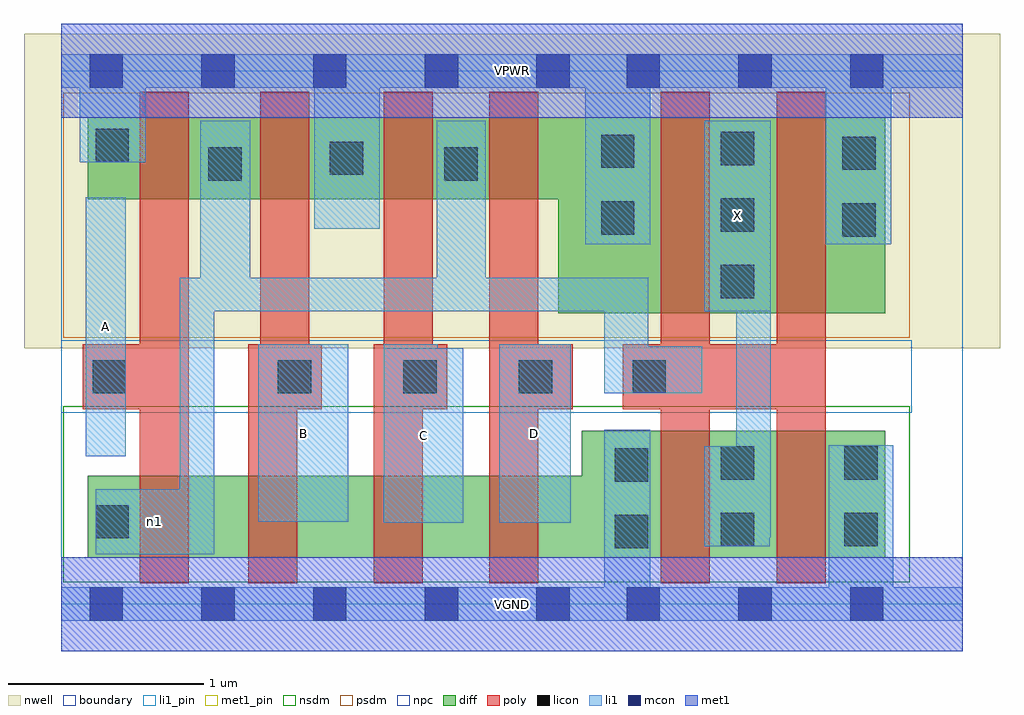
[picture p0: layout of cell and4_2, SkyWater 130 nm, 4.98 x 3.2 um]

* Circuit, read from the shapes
.subckt and4_2 A B C D VGND VPWR X n1
XM1 n2 A n1 VSUBS sky130_fd_pr__nfet_01v8 w=0.42 l=0.25
XM2 n3 B n2 VSUBS sky130_fd_pr__nfet_01v8 w=0.42 l=0.25
XM3 n4 C n3 VSUBS sky130_fd_pr__nfet_01v8 w=0.42 l=0.25
XM4 VGND D n4 VSUBS sky130_fd_pr__nfet_01v8 w=0.42 l=0.25
XM5 X n1 VGND VSUBS sky130_fd_pr__nfet_01v8 w=0.65 l=0.25 m=2
XM6 n1 A VPWR n5 sky130_fd_pr__pfet_01v8 w=0.42 l=0.25
XM7 VPWR B n1 n5 sky130_fd_pr__pfet_01v8 w=0.42 l=0.25
XM8 n1 C VPWR n5 sky130_fd_pr__pfet_01v8 w=0.42 l=0.25
XM9 VPWR D n1 n5 sky130_fd_pr__pfet_01v8 w=0.42 l=0.25
XM10 X n1 VPWR n5 sky130_fd_pr__pfet_01v8 w=1 l=0.25 m=2
.ends

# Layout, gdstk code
import gdstk
lib = gdstk.Library(unit=1e-6, precision=1e-09)
def R(c, l, rs):  # rectangles x0, y0, x1, y1
    for r in rs: c.add(gdstk.rectangle(r[:2], r[2:], *l))
def A(c, l, x, y, w, h, nx, ny, dx, dy):  # array of equal rectangles
    R(c, l, [(x+i*dx, y+j*dy, x+i*dx+w, y+j*dy+h) for i in range(nx) for j in range(ny)])
nwell = (64, 20)
diff = (65, 20)
poly = (66, 20)
licon = (66, 44)
li1_pin = (67, 16)
li1 = (67, 20)
mcon = (67, 44)
met1_pin = (68, 16)
met1 = (68, 20)
nsdm = (93, 44)
psdm = (94, 20)
npc = (95, 20)
boundary = (235, 4)

and4_2 = lib.new_cell('and4_2')
R(and4_2, nwell, [(-0.19,1.305,4.79,2.91), (0,1.305,4.6,2.91)])
R(and4_2, diff, [(0.135,0.235,4.205,0.655), (2.655,0.235,4.205,0.885), (2.535,1.485,4.205,2.485), (0.135,2.065,4.205,2.485)])
R(and4_2, poly, [(0.4,0.105,0.65,2.615), (0.955,0.105,1.205,1.325), (1.595,0.105,1.845,1.325), (2.185,0.105,2.435,2.615), (3.06,0.105,3.31,2.615), (3.65,0.105,3.9,2.615), (0.11,0.995,0.65,1.325), (0.955,0.995,1.33,1.325), (1.015,0.995,1.265,2.615), (1.595,0.995,1.97,1.325), (1.645,0.995,1.895,2.615), (2.185,0.995,2.61,1.325), (2.865,0.995,3.9,1.325)])
A(and4_2, licon, 3.365, 1.56, 0.17, 0.17, 1, 3, 0, 0.34)
R(and4_2, licon, [(2.825,0.285,2.995,0.455), (3.365,0.295,3.535,0.465), (3.995,0.295,4.165,0.465), (0.175,0.335,0.345,0.505), (2.825,0.625,2.995,0.795), (3.365,0.635,3.535,0.805), (3.995,0.635,4.165,0.805), (0.16,1.075,0.33,1.245), (1.105,1.075,1.275,1.245), (1.745,1.075,1.915,1.245), (2.335,1.075,2.505,1.245), (2.915,1.075,3.085,1.245), (3.985,1.875,4.155,2.045), (2.755,1.885,2.925,2.055), (0.75,2.16,0.92,2.33), (1.955,2.16,2.125,2.33), (1.37,2.19,1.54,2.36), (3.985,2.215,4.155,2.385), (2.755,2.225,2.925,2.395), (0.175,2.255,0.345,2.425)])
R(and4_2, li1_pin, [(1.645,0.415,2.05,1.305), (2.235,0.415,2.6,1.325), (1.005,0.42,1.465,1.325), (0.125,0.755,0.33,2.075), (3.28,1.495,3.62,2.465)])
R(and4_2, li1, [(0,-0.085,4.6,0.085), (2.77,-0.085,3.005,0.89), (3.915,-0.085,4.245,0.81), (0.175,0.255,0.78,0.585), (0.605,0.255,0.78,1.665), (3.28,0.295,3.615,0.805), (3.445,0.34,3.62,2.465), (1.645,0.415,2.05,1.305), (1.645,0.415,1.92,1.325), (2.235,0.415,2.6,1.325), (1.005,0.42,1.465,1.325), (0.125,0.755,0.33,2.075), (2.77,1.075,3.27,1.315), (2.77,1.075,2.995,1.665), (0.605,1.495,2.995,1.665), (0.71,1.495,0.965,2.465), (1.915,1.495,2.165,2.465), (3.28,1.495,3.62,2.465), (2.675,1.835,3.005,2.805), (3.9,1.835,4.235,2.805), (1.29,1.915,1.625,2.805), (0.095,2.255,0.43,2.805), (0,2.635,4.6,2.805)])
A(and4_2, mcon, 0.145, -0.085, 0.17, 0.17, 5, 2, 0.57, 2.72)
A(and4_2, mcon, 2.885, -0.085, 0.17, 0.17, 3, 2, 0.57, 2.72)
R(and4_2, met1_pin, [(0,-0.24,4.6,0.24), (0,2.48,4.6,2.96)])
R(and4_2, met1, [(0,-0.24,4.6,0.24), (0,2.48,4.6,2.96)])
R(and4_2, nsdm, [(0.01,0.11,4.33,1.01)])
R(and4_2, psdm, [(0.01,1.36,4.33,2.61)])
R(and4_2, npc, [(0,0.975,4.34,1.345)])
R(and4_2, boundary, [(0,0,4.6,2.72)])
and4_2.add(gdstk.Label('A', (0.227,1.415), layer=67, texttype=5))
and4_2.add(gdstk.Label('B', (1.235,0.872), layer=67, texttype=5))
and4_2.add(gdstk.Label('C', (1.847,0.86), layer=67, texttype=5))
and4_2.add(gdstk.Label('D', (2.417,0.87), layer=67, texttype=5))
and4_2.add(gdstk.Label('X', (3.45,1.98), layer=67, texttype=5))
and4_2.add(gdstk.Label('n1', (0.477,0.42), layer=67, texttype=5))
and4_2.add(gdstk.Label('VPWR', (2.3,2.72), layer=68, texttype=5))
and4_2.add(gdstk.Label('VGND', (2.3,0), layer=68, texttype=5))
and4_2.add(gdstk.Label('A', (0.227,1.415), layer=67, texttype=16))
and4_2.add(gdstk.Label('B', (1.235,0.872), layer=67, texttype=16))
and4_2.add(gdstk.Label('C', (1.847,0.86), layer=67, texttype=16))
and4_2.add(gdstk.Label('D', (2.417,0.87), layer=67, texttype=16))
and4_2.add(gdstk.Label('X', (3.45,1.98), layer=67, texttype=16))
and4_2.add(gdstk.Label('VPWR', (2.3,2.72), layer=68, texttype=16))
and4_2.add(gdstk.Label('VGND', (2.3,0), layer=68, texttype=16))

lib.write_gds('and4_2.gds')
